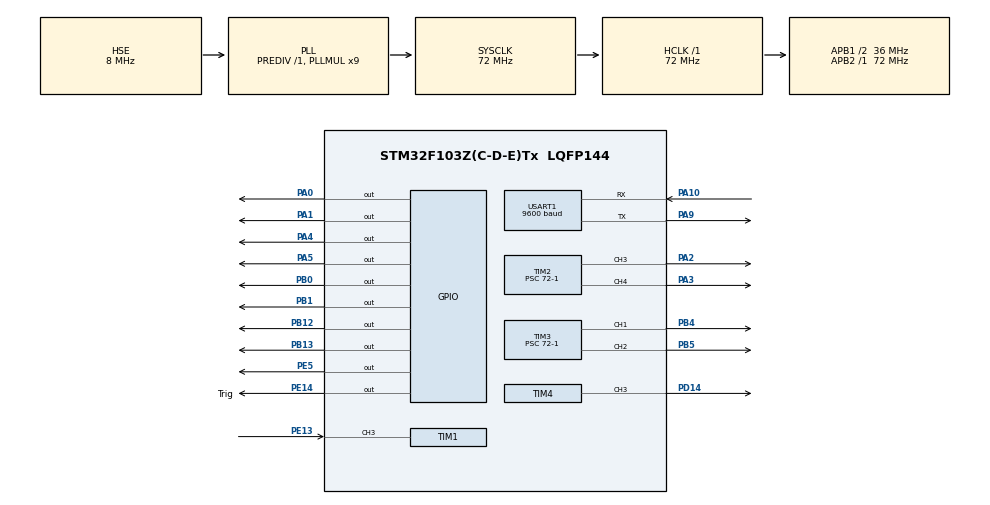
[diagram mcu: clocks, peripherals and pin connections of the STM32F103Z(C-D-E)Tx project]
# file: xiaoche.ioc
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Mcu.Family=STM32F1
Mcu.Name=STM32F103Z(C-D-E)Tx
Mcu.Package=LQFP144
NVIC.PriorityGroup=NVIC_PRIORITYGROUP_4
NVIC.TIM1_CC_IRQn=true\:0\:0\:true\:false\:true\:true\:true\:true
NVIC.TIM1_TRG_COM_IRQn=true\:0\:0\:true\:false\:true\:true\:true\:true
NVIC.TIM1_UP_IRQn=true\:0\:0\:true\:false\:true\:true\:true\:true
NVIC.TIM4_IRQn=true\:3\:0\:true\:false\:true\:true\:true\:true
NVIC.USART1_IRQn=true\:1\:0\:true\:false\:true\:true\:true\:true
OSC_IN.Mode=HSE-External-Oscillator
OSC_IN.Signal=RCC_OSC_IN
OSC_OUT.Mode=HSE-External-Oscillator
OSC_OUT.Signal=RCC_OSC_OUT
PA0-WKUP.Signal=GPIO_Output
PA1.Signal=GPIO_Output
PA10.Mode=Asynchronous
PA10.Signal=USART1_RX
PA13.Mode=Serial_Wire
PA13.Signal=SYS_JTMS-SWDIO
PA14.Mode=Serial_Wire
PA14.Signal=SYS_JTCK-SWCLK
PA2.Signal=S_TIM2_CH3
PA3.Signal=S_TIM2_CH4
PA4.Signal=GPIO_Output
PA5.Signal=GPIO_Output
PA9.Mode=Asynchronous
PA9.Signal=USART1_TX
PB0.Signal=GPIO_Output
PB1.Signal=GPIO_Output
PB12.Signal=GPIO_Output
PB13.Signal=GPIO_Output
PB4.Signal=S_TIM3_CH1
PB5.Signal=S_TIM3_CH2
PD14.Signal=S_TIM4_CH3
PE13.Signal=S_TIM1_CH3
PE14.GPIO_Label=Trig
PE14.Signal=GPIO_Output
PE5.Signal=GPIO_Output
ProjectManager.HeapSize=0x200
ProjectManager.StackSize=0x400
ProjectManager.TargetToolchain=MDK-ARM V5.32
RCC.AHBFreq_Value=72000000
RCC.APB1CLKDivider=RCC_HCLK_DIV2
RCC.APB1Freq_Value=36000000
RCC.APB1TimFreq_Value=72000000
RCC.APB2Freq_Value=72000000
RCC.APB2TimFreq_Value=72000000
RCC.HCLKFreq_Value=72000000
RCC.PLLMUL=RCC_PLL_MUL9
RCC.PLLSourceVirtual=RCC_PLLSOURCE_HSE
RCC.SYSCLKFreq_VALUE=72000000
RCC.SYSCLKSource=RCC_SYSCLKSOURCE_PLLCLK
RCC.USBFreq_Value=72000000
SH.S_TIM1_CH3.0=TIM1_CH3,Input_Capture3_from_TI3
SH.S_TIM2_CH3.0=TIM2_CH3,PWM Generation3 CH3
SH.S_TIM2_CH4.0=TIM2_CH4,PWM Generation4 CH4
SH.S_TIM3_CH1.0=TIM3_CH1,PWM Generation1 CH1
SH.S_TIM3_CH2.0=TIM3_CH2,PWM Generation2 CH2
SH.S_TIM4_CH3.0=TIM4_CH3,PWM Generation3 CH3
TIM1.Channel-Input_Capture3_from_TI3=TIM_CHANNEL_3
TIM1.Prescaler=72-1
TIM2.Channel-PWM\ Generation3\ CH3=TIM_CHANNEL_3
TIM2.Channel-PWM\ Generation4\ CH4=TIM_CHANNEL_4
TIM2.Period=255-1
TIM2.Prescaler=72-1
TIM3.Channel-PWM\ Generation1\ CH1=TIM_CHANNEL_1
TIM3.Channel-PWM\ Generation2\ CH2=TIM_CHANNEL_2
TIM3.Period=255-1
TIM3.Prescaler=72-1
TIM4.Channel-PWM\ Generation3\ CH3=TIM_CHANNEL_3
TIM4.Period=20000-1
TIM4.Prescaler=72-1
USART1.BaudRate=9600
USART1.VirtualMode=VM_ASYNC
VP_TIM1_VS_ClockSourceINT.Mode=Internal
VP_TIM2_VS_ClockSourceINT.Mode=Internal
VP_TIM3_VS_ClockSourceINT.Mode=Internal
VP_TIM4_VS_ClockSourceINT.Mode=Internal
board=custom

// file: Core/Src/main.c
/* USER CODE BEGIN Header */
/**
  ******************************************************************************
  * @file           : main.c
  * @brief          : Main program body
  ******************************************************************************
  * @attention
  *
  * Copyright (c) 2025 STMicroelectronics.
  * All rights reserved.
  *
  * This software is licensed under terms that can be found in the LICENSE file
  * in the root directory of this software component.
  * If no LICENSE file comes with this software, it is provided AS-IS.
  *
  ******************************************************************************
  */
/* USER CODE END Header */
#include "main.h"
#include "tim.h"
#include "usart.h"
#include "gpio.h"

/* USER CODE BEGIN Includes */
#include "sero.h"
#include "inputcapture.h"
#include "motor.h"
#include "uart.h"
/* USER CODE END Includes */

/* USER CODE BEGIN PV */
// 全局变量声明
volatile uint32_t last_tick = 0;
extern uint8_t bluetooth_rx_data;
/* USER CODE END PV */

void SystemClock_Config(void);

int main(void)
{

  /* MCU Configuration--------------------------------------------------------*/

  /* Reset of all peripherals, Initializes the Flash interface and the Systick. */
  HAL_Init();

  /* Configure the system clock */
  SystemClock_Config();

  /* Initialize all configured peripherals */
  MX_GPIO_Init();
  MX_TIM2_Init();
  MX_TIM1_Init();
  MX_USART1_UART_Init();
  MX_TIM3_Init();
  MX_TIM4_Init();
  /* USER CODE BEGIN 2 */
  // 1. 初始化外设
  HAL_TIM_Base_Start_IT(&htim1);   // 超声波定时器基启动
  HAL_UART_Receive_IT(&huart1, &bluetooth_rx_data, 1); // 蓝牙接收中断

  // 2. 启动电机PWM（使用TIM2和TIM3）
  HAL_TIM_PWM_Start(&htim2, TIM_CHANNEL_3);
  HAL_TIM_PWM_Start(&htim2, TIM_CHANNEL_4);
  HAL_TIM_PWM_Start(&htim3, TIM_CHANNEL_1);
  HAL_TIM_PWM_Start(&htim3, TIM_CHANNEL_2);

  // 3. 启动舵机PWM（使用TIM4通道3）
  HAL_TIM_PWM_Start(&htim4, TIM_CHANNEL_3);

  // 4. 设置舵机初始位置（0度）
 Servo_SetAngle(&htim4, TIM_CHANNEL_3, 0);
 Servo_Test();
  // 5. 超声波模块初始化（只执行一次！）
  Inputcapture_Init();

  // 6. 设置电机初始状态（停止）
  //Move_Stop();
		Move_Front();
  // 7. 初始LED状态
  HAL_GPIO_WritePin(GPIOE, GPIO_PIN_5, GPIO_PIN_RESET);

  // 启动成功提示
  char init_msg[] = "System Initialized\r\n";
  HAL_UART_Transmit(&huart1, (uint8_t*)init_msg, strlen(init_msg), 100);
  /* USER CODE END 2 */

  /* Infinite loop */
  /* USER CODE BEGIN WHILE */
  while (1)
  {
    // 1. 超声波测距
    float dist = Inputcapture_GetDistance();

    // 2. 串口打印距离信息
    char message[30];
    sprintf(message, "Distance: %.2f cm\r\n", dist);
    HAL_UART_Transmit(&huart1, (uint8_t*)message, strlen(message), 100);

    // 3. 避障逻辑
    if (dist < 30.0 && dist > 0) {
        // 检测到障碍物小于30cm
					char avoid_msg[80];
				sprintf(avoid_msg, "[AVOID] Triggered! Dist=%.2fcm < 30cm\r\n", dist);
				HAL_UART_Transmit(&huart1, (uint8_t*)avoid_msg, strlen(avoid_msg), 100);//检测舵机
			Servo_Test();
    //  Servo_SetAngle(&htim4, TIM_CHANNEL_3, 90); // 转向90度
        Move_RightFront(200); // 右前避障
        HAL_Delay(300); // 避障动作时间
			  Move_Stop();
    } else {
        // 无障碍物，直行
		 	 //Servo_Test();
       Servo_SetAngle(&htim4, TIM_CHANNEL_3, 0); // 回正
        Move_Front(200); // 前进
    }

    // 4. LED闪烁指示系统运行（非阻塞方式）
    if (HAL_GetTick() - last_tick >= 200) {
        last_tick = HAL_GetTick();
        HAL_GPIO_TogglePin(GPIOE, GPIO_PIN_5);
    }

    // 5. 短延时，避免过于频繁的测量
    HAL_Delay(50);

    /* USER CODE END WHILE */

  }
}

void SystemClock_Config(void)
{
  RCC_OscInitTypeDef RCC_OscInitStruct = {0};
  RCC_ClkInitTypeDef RCC_ClkInitStruct = {0};

  /** Initializes the RCC Oscillators according to the specified parameters
  * in the RCC_OscInitTypeDef structure.
  */
  RCC_OscInitStruct.OscillatorType = RCC_OSCILLATORTYPE_HSE;
  RCC_OscInitStruct.HSEState = RCC_HSE_ON;
  RCC_OscInitStruct.HSEPredivValue = RCC_HSE_PREDIV_DIV1;
  RCC_OscInitStruct.HSIState = RCC_HSI_ON;
  RCC_OscInitStruct.PLL.PLLState = RCC_PLL_ON;
  RCC_OscInitStruct.PLL.PLLSource = RCC_PLLSOURCE_HSE;
  RCC_OscInitStruct.PLL.PLLMUL = RCC_PLL_MUL9;
  if (HAL_RCC_OscConfig(&RCC_OscInitStruct) != HAL_OK)
  {
    Error_Handler();
  }

  /** Initializes the CPU, AHB and APB buses clocks
  */
  RCC_ClkInitStruct.ClockType = RCC_CLOCKTYPE_HCLK|RCC_CLOCKTYPE_SYSCLK
                              |RCC_CLOCKTYPE_PCLK1|RCC_CLOCKTYPE_PCLK2;
  RCC_ClkInitStruct.SYSCLKSource = RCC_SYSCLKSOURCE_PLLCLK;
  RCC_ClkInitStruct.AHBCLKDivider = RCC_SYSCLK_DIV1;
  RCC_ClkInitStruct.APB1CLKDivider = RCC_HCLK_DIV2;
  RCC_ClkInitStruct.APB2CLKDivider = RCC_HCLK_DIV1;

  if (HAL_RCC_ClockConfig(&RCC_ClkInitStruct, FLASH_LATENCY_2) != HAL_OK)
  {
    Error_Handler();
  }
}

void Error_Handler(void)
{
  __disable_irq();
  while (1)
  {
  }
}
